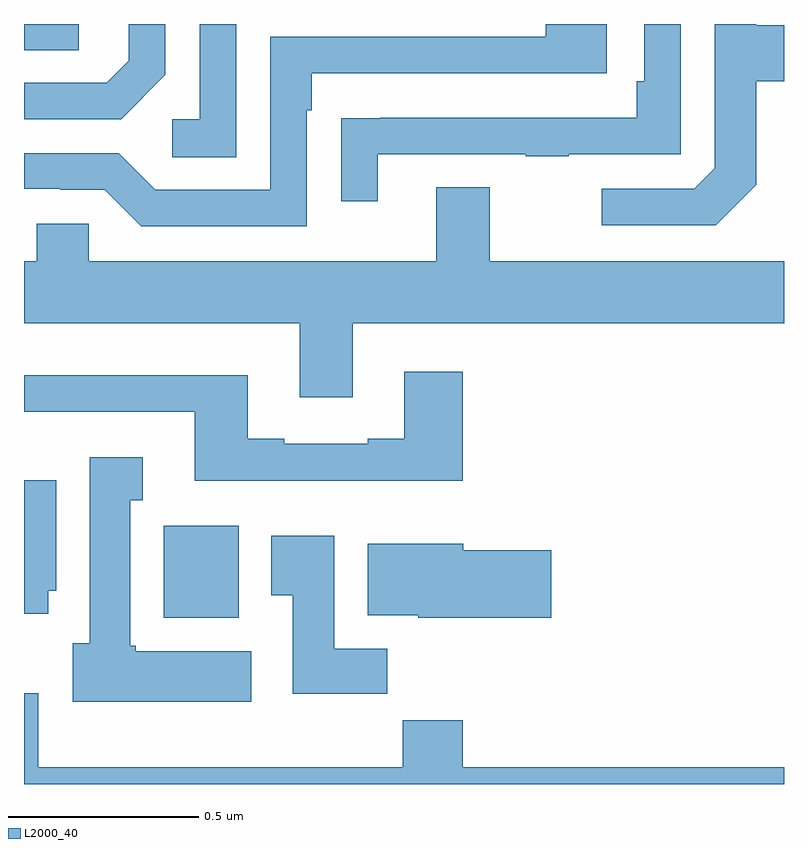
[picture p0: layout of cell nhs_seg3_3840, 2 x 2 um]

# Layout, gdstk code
import gdstk
lib = gdstk.Library(unit=1e-6, precision=1e-09)
def R(c, l, rs):  # rectangles x0, y0, x1, y1
    for r in rs: c.add(gdstk.rectangle(r[:2], r[2:], *l))
def P(c, l, *ps):  # polygons
    for p in ps: c.add(gdstk.Polygon(p, *l))
L2000_40 = (2000, 40)

nhs_seg3_3840 = lib.new_cell('nhs_seg3_3840')
R(nhs_seg3_3840, L2000_40, [(159.368,670.838,159.565,671.08), (159,672.331,159.144,672.4)])
P(nhs_seg3_3840, L2000_40, [(159.372,672.266),(159.372,672.4),(159.275,672.4),(159.275,672.303),(159.218,672.246),(159,672.246),(159,672.15),(159.256,672.15)],
  [(160.927,671.977),(160.927,672.25),(161,672.25),(161,672.397),(160.927,672.397),(160.927,672.4),(160.818,672.4),(160.818,672.021),(160.764,671.967),(160.521,671.967),(160.521,671.871),(160.821,671.871)],
  [(159.931,672.057),(160.321,672.057),(160.321,672.052),(160.433,672.052),(160.433,672.057),(160.728,672.057),(160.728,672.4),(160.632,672.4),(160.632,672.25),(160.612,672.25),(160.612,672.153),(159.937,672.153),(159.937,672.152),(159.835,672.152),(159.835,671.934),(159.931,671.934)],
  [(159.744,672.173),(159.757,672.173),(159.757,672.27),(160.534,672.27),(160.534,672.4),(160.373,672.4),(160.373,672.366),(159.648,672.366),(159.648,671.964),(159.345,671.964),(159.249,672.06),(159,672.06),(159,671.967),(159.095,671.967),(159.095,671.964),(159.213,671.964),(159.309,671.868),(159.744,671.868)],
  [(159.558,672.4),(159.462,672.4),(159.462,672.15),(159.39,672.15),(159.39,672.049),(159.558,672.049)],
  [(159.865,671.612),(161,671.612),(161,671.776),(160.225,671.776),(160.225,671.971),(160.085,671.971),(160.085,671.776),(159.171,671.776),(159.171,671.874),(159.033,671.874),(159.033,671.776),(159,671.776),(159,671.612),(159.725,671.612),(159.725,671.418),(159.865,671.418)],
  [(160.154,671.485),(160.001,671.485),(160.001,671.308),(159.905,671.308),(159.905,671.295),(159.685,671.295),(159.685,671.308),(159.589,671.308),(159.589,671.476),(159,671.476),(159,671.379),(159.449,671.379),(159.449,671.198),(160.154,671.198)],
  [(159.598,670.75),(159.294,670.75),(159.294,670.764),(159.28,670.764),(159.28,671.147),(159.313,671.147),(159.313,671.26),(159.173,671.26),(159.173,670.77),(159.128,670.77),(159.128,670.616),(159.598,670.616)],
  [(159.064,670.908),(159.085,670.908),(159.085,671.2),(159,671.2),(159,670.848),(159.064,670.848)],
  [(159.956,670.756),(159.817,670.756),(159.817,671.053),(159.65,671.053),(159.65,670.897),(159.707,670.897),(159.707,670.638),(159.956,670.638)],
  [(160.387,671.015),(160.156,671.015),(160.156,671.032),(159.905,671.032),(159.905,670.844),(160.038,670.844),(160.038,670.838),(160.387,670.838)],
  [(161,670.444),(160.154,670.444),(160.154,670.568),(159.997,670.568),(159.997,670.444),(159.037,670.444),(159.037,670.639),(159,670.639),(159,670.4),(161,670.4)])

lib.write_gds('nhs_seg3_3840.gds')
